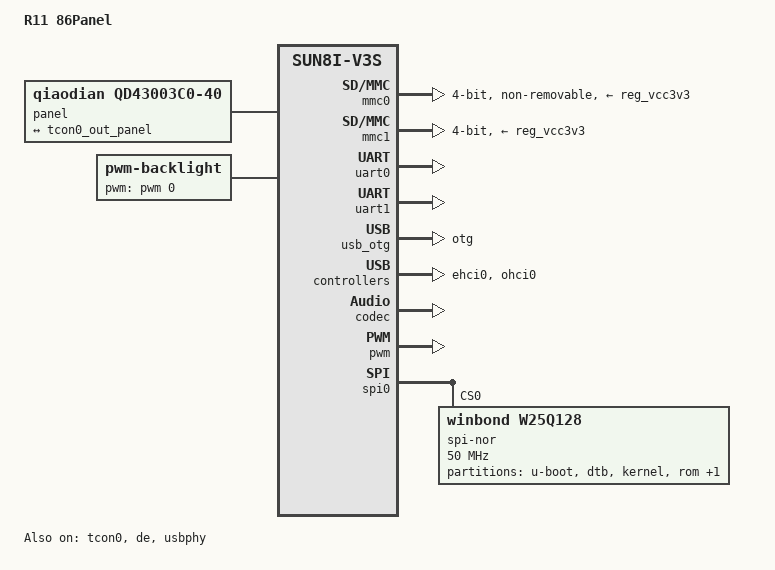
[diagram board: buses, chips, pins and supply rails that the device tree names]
/dts-v1/;
#include "sun8i-r11-linux.dtsi"
#include "sunxi-common-regulators.dtsi"

/ {
	model = "R11 86Panel";
	compatible = "YuzukiHD,R11-86Panel", "allwinner,sun8i-r11", "allwinner,sun8i-v3s";

	aliases {
		serial0 = &uart0;
	};

	chosen {
		stdout-path = "serial0:115200n8";
	};

	panel {
		compatible = "qiaodian,qd43003c0-40", "simple-panel";
		#address-cells = <1>;
		#size-cells = <0>;
		port {
			reg = <0>;
			#address-cells = <1>;
			#size-cells = <0>;
			panel_input: endpoint {
				reg = <0>;
				remote-endpoint = <&tcon0_out_panel>;
			};
		};
	};
	
	backlight: backlight {
		compatible = "pwm-backlight";
		pwms = <&pwm 0 1000000 1>;
		brightness-levels = <0 4 8 16 32 64 128 160 200 255>;
		default-brightness-level = <6>;
		status = "okay";
	};
};

&pio {
    csi1_8bit: csi1-8bit@0 {
        pins = "PE6","PE7","PE8","PE9","PE10","PE11","PE12","PE13","PE14","PE15";
        bias-disable;
        function = "csi";
    };

    csi1_clk: csi1-clk@0 {
        pins = "PE0","PE2","PE3";
        bias-disable;
        function = "csi";
    };

	csi1_mclk: csi1-mclk@0 {
        pins = "PE1";
        bias-disable;
        function = "csi";
    };

    i2c1_pins: i2c1 {
        pins = "PE21", "PE22";
        function = "i2c1";
    };
                        
    lcd_rgb666_pins: lcd-rgb666-pd {
        pins = "PD0", "PD1", "PD2", "PD3", "PD4", "PD5",
                "PD6", "PD7", "PD8", "PD9", "PD10", "PD11",
                "PD12", "PD13", "PD14", "PD15", "PD16", "PD17",
                "PD18", "PD19", "PD20", "PD21";
        function = "lcd";
    };
};

&tcon0 {
    pinctrl-names = "default";
    pinctrl-0 = <&lcd_rgb666_pins>;
    status = "okay";
};

&tcon0_out {
    tcon0_out_panel: endpoint@0 {
        reg = <0>;
        remote-endpoint = <&panel_input>;
    };
};

&de {
    status = "okay";
};

&rtc {
	status = "disabled";
};

&mmc0 {
	non-removable;
	bus-width = <4>;
	vmmc-supply = <&reg_vcc3v3>;
	status = "okay";
};

&mmc1 {
	broken-cd;
	bus-width = <4>;
	vmmc-supply = <&reg_vcc3v3>;
	status = "okay";
};

&uart0 {
	pinctrl-0 = <&uart0_pb_pins>;
	pinctrl-names = "default";
	status = "okay";
};

&uart1 {
	pinctrl-0 = <&uart1_pg_pins>;
	pinctrl-names = "default";
	status = "okay";
};

&uart2 {
	pinctrl-0 = <&uart2_pb_pins>;
	pinctrl-names = "default";
	status = "disabled";
};

&usb_otg {
	dr_mode = "otg";
	status = "okay";
};

&usbphy {
	status = "okay";
};

&csi1 {
    status = "disabled";
    pinctrl-names = "default";
    pinctrl-0 = <&csi1_clk &csi1_8bit>;

    port {
        csi1_ep: endpoint {
			remote-endpoint = <&ov5640_ep>;
			hsync-active = <0>;
			vsync-active = <0>;
			bus-width = <8>;
			pclk-sample = <1>;
    	};
	};
};

&i2c0 {
    status = "disabled";

    rtp@48 {
    	compatible = "ti,tsc2007";
        reg = <0x49>;
        interrupt-parent = <&pio>;
        interrupts = <1 10 IRQ_TYPE_EDGE_FALLING>;
        gpios = <&pio 1 10 GPIO_ACTIVE_LOW>;
        pendown-gpio = <&pio 1 10 GPIO_ACTIVE_LOW>;
        ti,x-plate-ohms = <660>;
        wakeup-source;
		status = "disabled";
    };

	rtc@51 {
		compatible = "nxp,pcf8563";
		reg = <0x51>;
        status = "disabled";
	};

	hym8563@51 {
		compatible = "haoyu,hym8563";
		reg = <0x51>;
		#clock-cells = <0>;
		status = "disabled";
	};

	ds1307@68 {
		compatible = "dallas,ds1307";
		reg = <0x68>;
		status = "disabled";
	};

	ctp@14 {
		compatible = "goodix,gt911";
		reg = <0x14>;
		interrupt-parent = <&pio>;
		interrupts = <1 10 IRQ_TYPE_EDGE_FALLING>; // PB10
		irq-gpios = <&pio 1 10 GPIO_ACTIVE_HIGH>;  // PB10
		reset-gpios = <&pio 1 3 GPIO_ACTIVE_HIGH>; // PB3
		status = "disabled";
	};

	ctp@5d {
		compatible = "goodix,gt911";
		reg = <0x5d>;
		interrupt-parent = <&pio>;
		interrupts = <1 10 IRQ_TYPE_EDGE_FALLING>; // PB10
		irq-gpios = <&pio 1 10 GPIO_ACTIVE_HIGH>;  // PB10
		reset-gpios = <&pio 1 3 GPIO_ACTIVE_HIGH>; // PB3
		status = "disabled";
	};
};

&i2c1 {
    pinctrl-0 = <&i2c1_pins>;
    pinctrl-names = "default";
    status = "disabled";

	ov2640: camera@30 {
        compatible = "ovti,ov2640";
        reg = <0x30>;
        pinctrl-names = "default";
        pinctrl-0 = <&csi1_mclk>;
        clocks = <&ccu CLK_CSI1_MCLK>;
        clock-names = "xvclk";
        assigned-clocks = <&ccu CLK_CSI1_MCLK>;
        assigned-clock-rates = <24000000>;
		status = "disabled";

        port {
            ov2640_ep: endpoint {
                remote-endpoint = <&csi1_ep>;
                hsync-active = <0>;
                vsync-active = <0>;
                bus-width = <8>;
                pclk-sample = <1>;

            };
        };
    };

    ov5640: camera@30 {
        compatible = "ovti,ov5640";
        reg = <0x3c>;
        pinctrl-names = "default";
        pinctrl-0 = <&csi1_mclk>;
        clocks = <&ccu CLK_CSI1_MCLK>;
        clock-names = "xclk";
        assigned-clocks = <&ccu CLK_CSI1_MCLK>;
        assigned-clock-rates = <24000000>;
		status = "okay";

        port {
            ov5640_ep: endpoint {
                remote-endpoint = <&csi1_ep>;
                hsync-active = <0>;
                vsync-active = <0>;
                bus-width = <8>;
                pclk-sample = <1>;
            };
		};
	};
};

&ehci0 {              
    status = "okay";
};

&ohci0 {
    status = "okay";
};

&codec {
	allwinner,audio-routing = "Headphone", "HP", "Headphone", "HPCOM", "Mic", "MIC1";
	status = "okay";
};

&pwm {
    pinctrl-names = "default";
    pinctrl-0 = <&pwm0_pins>;
    status = "okay";
};

&spi0 {
    status = "okay";
    spi-nor@0 {
        #address-cells = <1>;
        #size-cells = <1>;
        compatible = "winbond,w25q128", "jedec,spi-nor";
        reg = <0>;
        spi-max-frequency = <50000000>;
		status = "okay";
        partitions {
            compatible = "fixed-partitions";
            #address-cells = <1>;
            #size-cells = <1>;
            partition@0 {
                label = "u-boot";
                reg = <0x000000 0x70000>;
                read-only;
            };
            partition@1 {
                label = "dtb";
                reg = <0x70000 0x10000>;
                read-only;
            };
            partition@2 {
            	label = "kernel";
                reg = <0x80000 0x500000>;
                read-only;
            };
            partition@3 {
            	label = "rom";
            	reg = <0x580000 0x980000>;
            	read-only;
            };
            
            partition@4 {
                label = "overlay";
                reg = <0xF00000 0x200000>;
            };
        };
    };
    spi-nand@0 {
        #address-cells = <1>;
        #size-cells = <1>;
        compatible = "spi-nand";
        reg = <0>;
        spi-max-frequency = <50000000>;
        status = "disabled";

        partitions {
            compatible = "fixed-partitions";
            #address-cells = <1>;
            #size-cells = <1>;

            partition@0 {
                label = "u-boot";
                reg = <0x000000 0x80000>;
                read-only;
            };
            partition@1 {
                label = "dtb";
                reg = <0x80000 0x20000>;
                read-only;
            };
            partition@2 {
                label = "kernel";
                reg = <0x100000 0x700000>;
                read-only;
            };
            partition@3 {
                label = "rom";
                reg = <0x800000 0x4000000>;
                read-only;
            };
            partition@4 {
                label = "overlay";
                reg = <0x4800000 0x3000000>;
            };
        };
    };
};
